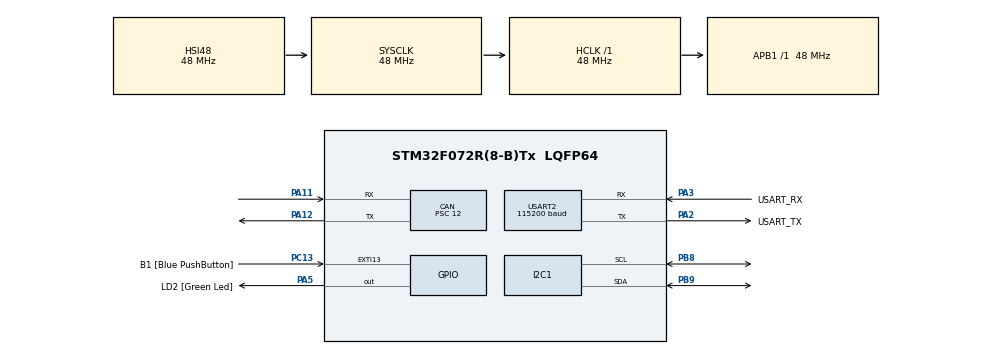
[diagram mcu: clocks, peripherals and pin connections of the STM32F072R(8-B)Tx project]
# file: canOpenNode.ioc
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CAN.BS1=CAN_BS1_13TQ
CAN.BS2=CAN_BS2_2TQ
CAN.CalculateBaudRate=250000
CAN.CalculateTimeBit=4000
CAN.CalculateTimeQuantum=250.0
CAN.Prescaler=12
I2C1.Timing=0x00201D2B
Mcu.Family=STM32F0
Mcu.Name=STM32F072R(8-B)Tx
Mcu.Package=LQFP64
NVIC.CEC_CAN_IRQn=true\:0\:0\:false\:false\:true\:true\:true\:true
NVIC.TIM2_IRQn=true\:0\:0\:false\:false\:true\:true\:true\:true
PA11.Mode=CAN_Activate
PA11.Signal=CAN_RX
PA12.Mode=CAN_Activate
PA12.Signal=CAN_TX
PA13.GPIO_Label=TMS
PA13.Mode=Serial_Wire
PA13.Signal=SYS_SWDIO
PA14.GPIO_Label=TCK
PA14.Mode=Serial_Wire
PA14.Signal=SYS_SWCLK
PA2.GPIO_Label=USART_TX
PA2.GPIO_Mode=GPIO_MODE_AF_PP
PA2.GPIO_PuPd=GPIO_NOPULL
PA2.GPIO_Speed=GPIO_SPEED_FREQ_LOW
PA2.Mode=Asynchronous
PA2.Signal=USART2_TX
PA3.GPIO_Label=USART_RX
PA3.GPIO_Mode=GPIO_MODE_AF_PP
PA3.GPIO_PuPd=GPIO_NOPULL
PA3.GPIO_Speed=GPIO_SPEED_FREQ_LOW
PA3.Mode=Asynchronous
PA3.Signal=USART2_RX
PA5.GPIO_Label=LD2 [Green Led]
PA5.GPIO_Mode=GPIO_MODE_OUTPUT_PP
PA5.GPIO_PuPd=GPIO_NOPULL
PA5.GPIO_Speed=GPIO_SPEED_FREQ_LOW
PA5.Signal=GPIO_Output
PB8.Mode=I2C
PB8.Signal=I2C1_SCL
PB9.Mode=I2C
PB9.Signal=I2C1_SDA
PC13.GPIO_Label=B1 [Blue PushButton]
PC13.GPIO_ModeDefaultEXTI=GPIO_MODE_IT_FALLING
PC13.Signal=GPXTI13
PC14-OSC32_IN.Mode=LSE-External-Oscillator
PC14-OSC32_IN.Signal=RCC_OSC32_IN
PC15-OSC32_OUT.Mode=LSE-External-Oscillator
PC15-OSC32_OUT.Signal=RCC_OSC32_OUT
PF0-OSC_IN.Mode=HSE-External-Clock-Source
PF0-OSC_IN.Signal=RCC_OSC_IN
PF1-OSC_OUT.Signal=RCC_OSC_OUT
ProjectManager.HeapSize=0x200
ProjectManager.StackSize=0x400
ProjectManager.TargetToolchain=STM32CubeIDE
RCC.AHBFreq_Value=48000000
RCC.APB1Freq_Value=48000000
RCC.APB1TimFreq_Value=48000000
RCC.FLatency-AdvancedSettings=FLASH_LATENCY_1
RCC.HCLKFreq_Value=48000000
RCC.PLLDivider=RCC_PREDIV_DIV2
RCC.PLLMUL=RCC_PLL_MUL12
RCC.PREFETCH_ENABLE-AdvancedSettings=1
RCC.SYSCLKFreq_VALUE=48000000
RCC.SYSCLKSource=RCC_SYSCLKSOURCE_HSI48
TIM2.AutoReloadPreload=TIM_AUTORELOAD_PRELOAD_ENABLE
TIM2.Period=0
TIM2.Prescaler=47999
USART2.BaudRate=115200
USART2.VirtualMode=VM_ASYNC
USART2.VirtualMode-Asynchronous=VM_ASYNC
VP_TIM2_VS_ClockSourceINT.Mode=Internal
board=NUCLEO-F072RB

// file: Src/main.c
/* USER CODE BEGIN Header */
/**
  ******************************************************************************
  * @file           : main.c
  * @brief          : Main program body
  ******************************************************************************
  * @attention
  *
  * Copyright (c) 2025 STMicroelectronics.
  * All rights reserved.
  *
  * This software is licensed under terms that can be found in the LICENSE file
  * in the root directory of this software component.
  * If no LICENSE file comes with this software, it is provided AS-IS.
  *
  ******************************************************************************
  */
/* USER CODE END Header */
#include "main.h"
#include "can.h"
#include "i2c.h"
#include "tim.h"
#include "usart.h"
#include "gpio.h"

/* USER CODE BEGIN Includes */
#include "CO/CO_app_STM32.h"
#include "CO/OD.h"
#include "CO/301/CO_Emergency.h"
#include <stdio.h>
#include <stdbool.h>
#include "bme280.h"
#include "flashEeprom.h"
/* USER CODE END Includes */

/* USER CODE BEGIN PV */
configFlash_t eeprom = {0};
/* USER CODE END PV */

void SystemClock_Config(void);

/* USER CODE BEGIN 0 */
BMP280_t bmp280;
float Temp, Pressure;

void I2C_Scanner(void)
{
    HAL_StatusTypeDef result;
    uint8_t i;

    printf("Skanowanie magistrali I2C...\r\n");

    for (i = 1; i < 128; i++)
    {
        // Shift adres o 1 w lewo, ponieważ HAL oczekuje 8-bitowego adresu (7-bitowy << 1)
        result = HAL_I2C_IsDeviceReady(&hi2c1, (i << 1), 1, 10);
        if (result == HAL_OK)
        {
            printf("Znaleziono urządzenie na adresie 0x%02X\r\n", i);
        }
        HAL_Delay(2);
    }

    printf("Skanowanie zakończone.\r\n");
}

/* USER CODE END 0 */

int main(void)
{

  /* USER CODE BEGIN 1 */
  uint8_t activeError = false;
  /* USER CODE END 1 */

  /* MCU Configuration--------------------------------------------------------*/

  /* Reset of all peripherals, Initializes the Flash interface and the Systick. */
  HAL_Init();

  /* Configure the system clock */
  SystemClock_Config();

  /* Initialize all configured peripherals */
  MX_GPIO_Init();
  MX_USART2_UART_Init();
  MX_CAN_Init();
  MX_I2C1_Init();
  MX_TIM2_Init();
  /* USER CODE BEGIN 2 */
  CANopenNodeSTM32 canOpenNodeSTM32;

  canOpenNodeSTM32.CANHandle = &hcan;
  canOpenNodeSTM32.HWInitFunction = MX_CAN_Init;
  canOpenNodeSTM32.timerHandle = &htim2;
  canOpenNodeSTM32.desiredNodeID = 2;
  canOpenNodeSTM32.baudrate = 250;

  while(canopen_app_init(&canOpenNodeSTM32) != HAL_OK);

  if(BMP280_Init(&bmp280, &hi2c1, 0x76) != HAL_OK)
	 Error_Handler();

  uint32_t sendDataTime = HAL_GetTick();
  uint32_t connectionCheckTime = HAL_GetTick();

  /* USER CODE END 2 */
  /* Infinite loop */
  /* USER CODE BEGIN WHILE */
  while (1)
  {
	  HAL_GPIO_WritePin(LD2_GPIO_Port, LD2_Pin, !canOpenNodeSTM32.outStatusLEDGreen);
	  canopen_app_process();

	  if ((HAL_GetTick() - sendDataTime) >= OD_PERSIST_COMM.x1800_TPDOCommunicationParameter.eventTimer && activeError == false)
	  {
		if(BMP280_ReadPressureAndTemperature(&bmp280, &Pressure, &Temp) == HAL_OK)
		{
			OD_PERSIST_COMM.x6000_temp = (int32_t)(Temp * 100);
			OD_PERSIST_COMM.x6001_pressure = (uint32_t)(Pressure * 100);

			//OD_set_u32(OD_find(OD, 0x6000), 0x00, Temp, false);
			//OD_set_u32(OD_find(OD, 0x6001), 0x00, Pressure, false);
		}

		sendDataTime = HAL_GetTick();
	  }

	  if((HAL_GetTick() - connectionCheckTime) >= 1000)
	  {
		  if(BMP280_CheckConnection(&bmp280) != HAL_OK)
		  {
			  activeError = true;
			  OD_PERSIST_COMM.x6000_temp = INT32_MAX;
			  OD_PERSIST_COMM.x6001_pressure = UINT32_MAX;
			  CO_errorReport(canOpenNodeSTM32.canOpenStack->em, CO_ERR_REG_COMMUNICATION, CO_EMC_HARDWARE, 0);
		  }
		  else
		  {
			  activeError = false;
		  }

		  connectionCheckTime = HAL_GetTick();
	  }
    /* USER CODE END WHILE */

  }
}

void SystemClock_Config(void)
{
  RCC_OscInitTypeDef RCC_OscInitStruct = {0};
  RCC_ClkInitTypeDef RCC_ClkInitStruct = {0};
  RCC_PeriphCLKInitTypeDef PeriphClkInit = {0};

  /** Initializes the RCC Oscillators according to the specified parameters
  * in the RCC_OscInitTypeDef structure.
  */
  RCC_OscInitStruct.OscillatorType = RCC_OSCILLATORTYPE_HSI|RCC_OSCILLATORTYPE_HSI48;
  RCC_OscInitStruct.HSIState = RCC_HSI_ON;
  RCC_OscInitStruct.HSI48State = RCC_HSI48_ON;
  RCC_OscInitStruct.HSICalibrationValue = RCC_HSICALIBRATION_DEFAULT;
  RCC_OscInitStruct.PLL.PLLState = RCC_PLL_NONE;
  if (HAL_RCC_OscConfig(&RCC_OscInitStruct) != HAL_OK)
  {
    Error_Handler();
  }

  /** Initializes the CPU, AHB and APB buses clocks
  */
  RCC_ClkInitStruct.ClockType = RCC_CLOCKTYPE_HCLK|RCC_CLOCKTYPE_SYSCLK
                              |RCC_CLOCKTYPE_PCLK1;
  RCC_ClkInitStruct.SYSCLKSource = RCC_SYSCLKSOURCE_HSI48;
  RCC_ClkInitStruct.AHBCLKDivider = RCC_SYSCLK_DIV1;
  RCC_ClkInitStruct.APB1CLKDivider = RCC_HCLK_DIV1;

  if (HAL_RCC_ClockConfig(&RCC_ClkInitStruct, FLASH_LATENCY_1) != HAL_OK)
  {
    Error_Handler();
  }
  PeriphClkInit.PeriphClockSelection = RCC_PERIPHCLK_USART2|RCC_PERIPHCLK_I2C1;
  PeriphClkInit.Usart2ClockSelection = RCC_USART2CLKSOURCE_PCLK1;
  PeriphClkInit.I2c1ClockSelection = RCC_I2C1CLKSOURCE_HSI;
  if (HAL_RCCEx_PeriphCLKConfig(&PeriphClkInit) != HAL_OK)
  {
    Error_Handler();
  }
}

/* USER CODE BEGIN 4 */
void HAL_TIM_PeriodElapsedCallback(TIM_HandleTypeDef *htim)
{
  // Handle CANOpen app interrupts
  if (htim == canopenNodeSTM32->timerHandle)
  {
      canopen_app_interrupt();
  }
}

int __io_putchar(int ch)
{
  HAL_UART_Transmit(&huart2, (uint8_t *)&ch, 1, HAL_MAX_DELAY);

  return ch;
}
/* USER CODE END 4 */

void Error_Handler(void)
{
  /* USER CODE BEGIN Error_Handler_Debug */
  /* User can add his own implementation to report the HAL error return state */
  __disable_irq();
  while (1)
  {
	  HAL_GPIO_WritePin(LD2_GPIO_Port, LD2_Pin, 1);
  }
  /* USER CODE END Error_Handler_Debug */
}
